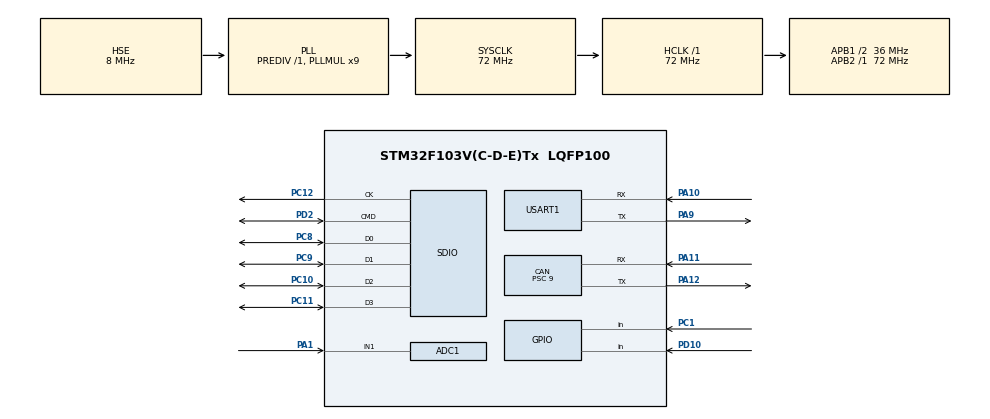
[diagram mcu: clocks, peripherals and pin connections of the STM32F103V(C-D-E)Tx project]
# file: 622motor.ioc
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ADC1.Channel-0\#ChannelRegularConversion=ADC_CHANNEL_1
ADC1.NbrOfConversionFlag=1
ADC1.Rank-0\#ChannelRegularConversion=1
ADC1.SamplingTime-0\#ChannelRegularConversion=ADC_SAMPLETIME_1CYCLE_5
ADC1.master=1
CAN.BS1=CAN_BS1_8TQ
CAN.BS2=CAN_BS2_7TQ
CAN.CalculateBaudRate=250000
CAN.CalculateTimeBit=4000
CAN.CalculateTimeQuantum=250.0
CAN.Prescaler=9
Dma.Request0=USART1_TX
Dma.Request1=SDIO
Dma.SDIO.1.Direction=DMA_PERIPH_TO_MEMORY
Dma.SDIO.1.Instance=DMA2_Channel4
Dma.SDIO.1.MemDataAlignment=DMA_MDATAALIGN_WORD
Dma.SDIO.1.MemInc=DMA_MINC_ENABLE
Dma.SDIO.1.Mode=DMA_NORMAL
Dma.SDIO.1.PeriphDataAlignment=DMA_PDATAALIGN_WORD
Dma.SDIO.1.PeriphInc=DMA_PINC_DISABLE
Dma.SDIO.1.Priority=DMA_PRIORITY_LOW
Dma.USART1_TX.0.Direction=DMA_MEMORY_TO_PERIPH
Dma.USART1_TX.0.Instance=DMA1_Channel4
Dma.USART1_TX.0.MemDataAlignment=DMA_MDATAALIGN_BYTE
Dma.USART1_TX.0.MemInc=DMA_MINC_ENABLE
Dma.USART1_TX.0.Mode=DMA_NORMAL
Dma.USART1_TX.0.PeriphDataAlignment=DMA_PDATAALIGN_BYTE
Dma.USART1_TX.0.PeriphInc=DMA_PINC_DISABLE
Dma.USART1_TX.0.Priority=DMA_PRIORITY_MEDIUM
FATFS.BSP.number=1
FATFS0.BSP.STBoard=false
FATFS0.BSP.api=Unknown
FATFS0.BSP.instance=PD10
FATFS0.BSP.ip=GPIO
FATFS0.BSP.mode=Input
FATFS0.BSP.name=Detect_SDIO
FATFS0.BSP.solution=PD10
Mcu.Family=STM32F1
Mcu.Name=STM32F103V(C-D-E)Tx
Mcu.Package=LQFP100
NVIC.DMA1_Channel4_IRQn=true\:4\:0\:true\:false\:true\:false\:true\:true
NVIC.DMA2_Channel4_5_IRQn=true\:3\:0\:true\:false\:true\:false\:true\:true
NVIC.PriorityGroup=NVIC_PRIORITYGROUP_4
NVIC.SDIO_IRQn=true\:3\:0\:true\:false\:true\:true\:true\:true
NVIC.USB_LP_CAN1_RX0_IRQn=true\:2\:0\:true\:false\:true\:true\:true\:true
OSC_IN.Mode=HSE-External-Oscillator
OSC_IN.Signal=RCC_OSC_IN
OSC_OUT.Mode=HSE-External-Oscillator
OSC_OUT.Signal=RCC_OSC_OUT
PA1.Signal=ADCx_IN1
PA10.Mode=Asynchronous
PA10.Signal=USART1_RX
PA11.Mode=CAN_Activate
PA11.Signal=CAN_RX
PA12.Mode=CAN_Activate
PA12.Signal=CAN_TX
PA13.Mode=Serial_Wire
PA13.Signal=SYS_JTMS-SWDIO
PA14.Mode=Serial_Wire
PA14.Signal=SYS_JTCK-SWCLK
PA9.Mode=Asynchronous
PA9.Signal=USART1_TX
PC1.GPIO_PuPd=GPIO_PULLDOWN
PC1.Signal=GPIO_Input
PC10.Mode=SD_4_bits_Wide_bus
PC10.Signal=SDIO_D2
PC11.Mode=SD_4_bits_Wide_bus
PC11.Signal=SDIO_D3
PC12.Mode=SD_4_bits_Wide_bus
PC12.Signal=SDIO_CK
PC8.Mode=SD_4_bits_Wide_bus
PC8.Signal=SDIO_D0
PC9.Mode=SD_4_bits_Wide_bus
PC9.Signal=SDIO_D1
PD10.GPIO_PuPd=GPIO_PULLDOWN
PD10.Signal=GPIO_Input
PD2.Mode=SD_4_bits_Wide_bus
PD2.Signal=SDIO_CMD
ProjectManager.HeapSize=0x200
ProjectManager.StackSize=0x400
ProjectManager.TargetToolchain=CMake
RCC.ADCPresc=RCC_ADCPCLK2_DIV6
RCC.AHBFreq_Value=72000000
RCC.APB1CLKDivider=RCC_HCLK_DIV2
RCC.APB1Freq_Value=36000000
RCC.APB1TimFreq_Value=72000000
RCC.APB2Freq_Value=72000000
RCC.APB2TimFreq_Value=72000000
RCC.HCLKFreq_Value=72000000
RCC.PLLMUL=RCC_PLL_MUL9
RCC.PLLSourceVirtual=RCC_PLLSOURCE_HSE
RCC.SYSCLKFreq_VALUE=72000000
RCC.SYSCLKSource=RCC_SYSCLKSOURCE_PLLCLK
RCC.USBFreq_Value=72000000
SH.ADCx_IN1.0=ADC1_IN1,IN1
USART1.Parity=PARITY_NONE
USART1.VirtualMode=VM_ASYNC
VP_FATFS_VS_SDIO.Mode=SDIO
board=custom

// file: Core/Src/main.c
/* USER CODE BEGIN Header */
/**
  ******************************************************************************
  * @file           : main.c
  * @brief          : Main program body
  ******************************************************************************
  * @attention
  *
  * Copyright (c) 2026 STMicroelectronics.
  * All rights reserved.
  *
  * This software is licensed under terms that can be found in the LICENSE file
  * in the root directory of this software component.
  * If no LICENSE file comes with this software, it is provided AS-IS.
  *
  ******************************************************************************
  */
/* USER CODE END Header */
#include "main.h"
#include "adc.h"
#include "can.h"
#include "dma.h"
#include "fatfs.h"
#include "sdio.h"
#include "usart.h"
#include "gpio.h"
#include "sd_logger.h"

/* USER CODE BEGIN Includes */
#include <stdio.h>            // 如果需要简单 printf 调试
#include <stdarg.h>           // 同上
/* USER CODE END Includes */

/* USER CODE BEGIN PTD */
typedef struct
{
  uint8_t node_id;
  uint8_t online;
  uint8_t enable;
  uint8_t drive_mode;
  uint8_t ebrake_released;
  uint8_t system_state;
  int16_t torque_dNm;
  int16_t speed_rpm;
  int16_t mech_rpm;
  int16_t motor_temp_c;
  int16_t controller_temp_c;
  uint8_t error_code;
  uint16_t udc_dV;
  int16_t idc_dA;
  uint16_t iphase_dA;
  uint16_t limit_flags;
  uint32_t last_status1_tick;
  uint32_t last_status2_tick;
} AppMotorStatus_t;

typedef struct
{
  uint8_t node_id;
  int8_t direction;       /* 1 = forward, -1 = reverse. Change here for field wiring. */
} AppMotorConfig_t;

typedef struct
{
  GPIO_TypeDef *port;
  uint16_t pin;
} AppGpioPin_t;

extern DMA_HandleTypeDef hdma_usart1_tx;
/* USER CODE END PTD */

/* USER CODE BEGIN PD */
#define APP_MOTOR_NODE_ID_1          1U
#define APP_MOTOR_NODE_ID_2          2U
#define APP_MOTOR_MAX_RPM            3000U
#define APP_SPEED_OFFSET_RPM         30000L
#define APP_TORQUE_OFFSET_RAW        10000U
#define APP_TARGET_TORQUE_DNM         0     /* Current speed command sends zero torque request. */
#define APP_CAN_CMD_BASE_ID          0x200U
#define APP_CAN_STATUS1_BASE_ID      0x180U
#define APP_CAN_STATUS2_BASE_ID      0x280U
#define APP_CAN_CMD_PERIOD_MS        20U
#define APP_UART_PERIOD_MS           100U
#define APP_MOTOR_ONLINE_TIMEOUT_MS  500U
#define APP_CAN_TX_RETRY_COUNT       2U
#define APP_ADC_SAMPLE_COUNT         8U

#define APP_ANO_ADC_ID               0xF1U  /* ADC raw + speed percent + stop */
#define APP_ANO_TARGET_SPEED_ID      0xF2U  /* Desired speed (target RPM) */
#define APP_ANO_ACTUAL_SPEED_ID      0xF3U  /* Actual mechanical RPM */
#define APP_ANO_TORQUE_ID            0xF4U  /* Actual torque */
#define APP_ANO_MOTOR_TEMP_ID        0xF5U  /* Motor temperature */
#define APP_ANO_CONTROLLER_TEMP_ID   0xF6U  /* Controller temperature */
#define APP_ANO_VOLTAGE_CURRENT_ID   0xF7U  /* Bus voltage & current */
#define APP_MOTOR_DUAL_NODE1_MODE    0U     /* Set to 1 when both motors share node ID 1 */

#define ANO_HEAD      0xAB

#define ANO_SRC_ADDR  0x01      // STM32
#define ANO_DST_ADDR  0xFF      // PC上位机

/* 新增：刹车输入引脚定义 */
#define APP_BRAKE_GPIO_PORT      GPIOC
#define APP_BRAKE_GPIO_PIN       GPIO_PIN_1
/* USER CODE END PD */

/* USER CODE BEGIN PV */
static volatile AppMotorStatus_t app_motors[2];
static const AppMotorConfig_t app_motor_configs[2] =
{
  {APP_MOTOR_NODE_ID_1, 1},
  {APP_MOTOR_NODE_ID_2, 1}
};
static uint8_t app_speed_percent = 0U;
static uint8_t app_stop_active = 1U;
static int16_t app_target_rpm[2] = {0};
static volatile uint32_t app_can_tx_error_count = 0U;
static volatile uint32_t app_adc_error_count = 0U;
static volatile uint32_t app_uart_error_count = 0U;
static uint16_t app_adc_raw = 0U;
static int16_t app_target_torque_dNm[2] = {0};
/* USER CODE END PV */

void SystemClock_Config(void);
/* USER CODE BEGIN PFP */
static void App_Init(void);
static void App_Task(void);
static uint16_t App_ReadAdcRaw(void);
static uint8_t App_ReadSpeedPercent(void);
static uint8_t App_ReadStopSwitch(void);
static void App_SendMotorCommands(uint8_t speed_percent, uint8_t stop_active);
static HAL_StatusTypeDef App_SendMotorCommand(uint8_t node_id, int16_t speed_rpm, uint8_t enable);
static void App_ProcessCanFrame(const CAN_RxHeaderTypeDef *header, const uint8_t data[8]);
static void App_LogMotorStatusFromIsr(uint8_t node_id, const volatile AppMotorStatus_t *motor);
static volatile AppMotorStatus_t *App_FindMotorByNode(uint8_t node_id);
static int8_t App_GetMotorDirection(uint8_t node_id);
static void App_CopyMotorSnapshot(AppMotorStatus_t snapshot[2], int16_t target_rpm[2]);
static void App_UpdateMotorOnlineFlags(uint32_t now);
static uint16_t App_GetLe16(const uint8_t *data);
static void App_UartReport(void);
static void App_AnoSendVoltageCurrent(const AppMotorStatus_t motors[2], uint32_t now);
static void App_AnoSendAdcReading(void);
static void App_AnoSendTargetSpeed(const AppMotorStatus_t motors[2], const int16_t target_rpm[2]);
static void App_AnoSendActualSpeed(const AppMotorStatus_t motors[2]);
static void App_AnoSendTorque(const AppMotorStatus_t motors[2]);
static void App_AnoSendMotorTemp(const AppMotorStatus_t motors[2]);
static void App_AnoSendControllerTemp(const AppMotorStatus_t motors[2]);
static void App_AnoAppendS16(uint8_t *payload, uint16_t *index, int16_t value);
static void App_AnoAppendU32(uint8_t *payload, uint16_t *index, uint32_t value);
static void App_AnoCalcCheck(
    uint8_t *buf,
    uint16_t len,
    uint8_t *sumcheck,
    uint8_t *addcheck)
{
  uint16_t i;
  uint8_t sc = 0U;
  uint8_t ac = 0U;

  for (i = 0U; i < len; i++)
  {
    sc += buf[i];
    ac += sc;
  }
  *sumcheck = sc;
  *addcheck = ac;
}

static void App_AnoSendFrame(
    uint8_t id,
    const uint8_t *payload,
    uint16_t len);
/* USER CODE END PFP */

/* USER CODE BEGIN 0 */
static void App_Init(void)
{
  CAN_FilterTypeDef filter = {0};

  /* Initialise the queue before enabling CAN receive interrupts. */
  SdLogger_Init();

  app_motors[0].node_id = APP_MOTOR_NODE_ID_1;
#if APP_MOTOR_DUAL_NODE1_MODE
  app_motors[1].node_id = APP_MOTOR_NODE_ID_1;
#else
  app_motors[1].node_id = APP_MOTOR_NODE_ID_2;
#endif

  HAL_ADCEx_Calibration_Start(&hadc1);

  /* CAN accepts all frames; application parsing below filters motor status IDs. */
  filter.FilterBank = 0;
  filter.FilterMode = CAN_FILTERMODE_IDMASK;
  filter.FilterScale = CAN_FILTERSCALE_32BIT;
  filter.FilterIdHigh = 0x0000;
  filter.FilterIdLow = 0x0000;
  filter.FilterMaskIdHigh = 0x0000;
  filter.FilterMaskIdLow = 0x0000;
  filter.FilterFIFOAssignment = CAN_RX_FIFO0;
  filter.FilterActivation = ENABLE;
  filter.SlaveStartFilterBank = 14;
  if (HAL_CAN_ConfigFilter(&hcan, &filter) != HAL_OK)
  {
    Error_Handler();
  }

  if (HAL_CAN_Start(&hcan) != HAL_OK)
  {
    Error_Handler();
  }

  if (HAL_CAN_ActivateNotification(&hcan, CAN_IT_RX_FIFO0_MSG_PENDING) != HAL_OK)
  {
    Error_Handler();
  }

}

static void App_Task(void)
{
  static uint32_t last_cmd_tick = 0U;
  static uint32_t last_uart_tick = 0U;
  uint32_t now = HAL_GetTick();

  if ((now - last_cmd_tick) >= APP_CAN_CMD_PERIOD_MS)
  {
    last_cmd_tick = now;
    app_speed_percent = App_ReadSpeedPercent();
    app_stop_active = App_ReadStopSwitch();
    App_SendMotorCommands(app_speed_percent, app_stop_active);
  }

  if ((now - last_uart_tick) >= APP_UART_PERIOD_MS)
  {
    last_uart_tick = now;
    App_UartReport();
  }

  SdLogger_Task();
}

static uint16_t App_ReadAdcRaw(void)
{
  uint32_t sum = 0U;
  uint8_t sample_count = 0U;
  uint8_t i;

  for (i = 0U; i < APP_ADC_SAMPLE_COUNT; i++)
  {
    if (HAL_ADC_Start(&hadc1) != HAL_OK)
    {
      app_adc_error_count++;
      HAL_ADC_Stop(&hadc1);
      continue;
    }
    if (HAL_ADC_PollForConversion(&hadc1, 2U) == HAL_OK)
    {
      sum += HAL_ADC_GetValue(&hadc1);
      sample_count++;
    }
    else
    {
      app_adc_error_count++;
    }
    HAL_ADC_Stop(&hadc1);
  }

  if (sample_count == 0U)
  {
    return 0U;
  }

  return (uint16_t)(sum / sample_count);
}

static uint8_t App_ReadSpeedPercent(void)
{
  uint16_t adc_raw = App_ReadAdcRaw();
  app_adc_raw = adc_raw;
  uint32_t percent = ((uint32_t)adc_raw * 100U + 2047U) / 4095U;

  if (percent > 100U)
  {
    percent = 100U;
  }
  return (uint8_t)percent;
}

static uint8_t App_ReadStopSwitch(void)
{
    /* PC1 低电平 = 刹车（停止），高电平 = 运行 */
    if (HAL_GPIO_ReadPin(APP_BRAKE_GPIO_PORT, APP_BRAKE_GPIO_PIN) == GPIO_PIN_RESET)
    {
        return 1U;   // 停止
    }
    else
    {
        return 0U;   // 允许运行
    }
}

static void App_SendMotorCommands(uint8_t speed_percent, uint8_t stop_active)
{
    uint32_t rpm = ((uint32_t)speed_percent * APP_MOTOR_MAX_RPM + 50U) / 100U;
    uint8_t enable = (stop_active == 0U) ? 1U : 0U;
    uint8_t i;

#if APP_MOTOR_DUAL_NODE1_MODE
    const uint8_t motor_count = 1U;
#else
    const uint8_t motor_count = (uint8_t)(sizeof(app_motor_configs) / sizeof(app_motor_configs[0]));
#endif

    for (i = 0U; i < motor_count; i++)
    {
        uint8_t retry;
        uint8_t node_id = app_motor_configs[i].node_id;
        int16_t speed_rpm = enable ? (int16_t)((int32_t)rpm * App_GetMotorDirection(node_id)) : 0;
        HAL_StatusTypeDef status = HAL_ERROR;

        app_target_rpm[i] = speed_rpm;
        app_target_torque_dNm[i] = APP_TARGET_TORQUE_DNM;
        for (retry = 0U; retry < APP_CAN_TX_RETRY_COUNT; retry++)
        {
            status = App_SendMotorCommand(node_id, speed_rpm, enable);
            if (status == HAL_OK)
            {
                break;
            }
        }
        if (status != HAL_OK)
        {
            app_can_tx_error_count++;
            if (app_can_tx_error_count > 50U)
            {
                HAL_CAN_Stop(&hcan);
                HAL_CAN_Start(&hcan);
                HAL_CAN_ActivateNotification(&hcan, CAN_IT_RX_FIFO0_MSG_PENDING);
                app_can_tx_error_count = 0U;
            }
        }
    }
}

static HAL_StatusTypeDef App_SendMotorCommand(uint8_t node_id, int16_t speed_rpm, uint8_t enable)
{
  CAN_TxHeaderTypeDef tx_header = {0};
  uint8_t tx_data[8] = {0};
  uint32_t tx_mailbox;
  uint16_t speed_raw;

  if (speed_rpm > (int16_t)APP_MOTOR_MAX_RPM)
  {
    speed_rpm = (int16_t)APP_MOTOR_MAX_RPM;
  }
  if (speed_rpm < -(int16_t)APP_MOTOR_MAX_RPM)
  {
    speed_rpm = -(int16_t)APP_MOTOR_MAX_RPM;
  }

  speed_raw = (uint16_t)((int32_t)speed_rpm + APP_SPEED_OFFSET_RPM);

  tx_header.StdId = APP_CAN_CMD_BASE_ID + node_id;
  tx_header.ExtId = 0U;
  tx_header.IDE = CAN_ID_STD;
  tx_header.RTR = CAN_RTR_DATA;
  tx_header.DLC = 8U;
  tx_header.TransmitGlobalTime = DISABLE;

  /* Bit0 enable, Bit1..2 = 1 speed mode, Bit3 EBrakeCmd = 0 (MCU控制，即刹车就绪) */
  tx_data[0] = enable ? 0x0BU : 0x00U;
  tx_data[1] = (uint8_t)(APP_TORQUE_OFFSET_RAW & 0xFFU);
  tx_data[2] = (uint8_t)(APP_TORQUE_OFFSET_RAW >> 8);
  tx_data[3] = (uint8_t)(speed_raw & 0xFFU);
  tx_data[4] = (uint8_t)(speed_raw >> 8);

  return HAL_CAN_AddTxMessage(&hcan, &tx_header, tx_data, &tx_mailbox);
}

static void App_ProcessCanFrame(const CAN_RxHeaderTypeDef *header, const uint8_t data[8])
{
  uint8_t node_id;
  volatile AppMotorStatus_t *motor;
  uint16_t raw;

  if ((header->IDE != CAN_ID_STD) || (header->DLC < 8U))
  {
    return;
  }

  if ((header->StdId >= (APP_CAN_STATUS1_BASE_ID + APP_MOTOR_NODE_ID_1)) &&
      (header->StdId <= (APP_CAN_STATUS1_BASE_ID + APP_MOTOR_NODE_ID_2 + 16U)))
  {
    node_id = (uint8_t)(header->StdId - APP_CAN_STATUS1_BASE_ID);
    motor = App_FindMotorByNode(node_id);
    if (motor != NULL)
    {
      motor->online = 1U;
      motor->enable = data[0] & 0x01U;
      motor->drive_mode = (data[0] >> 1) & 0x01U;
      motor->ebrake_released = (data[0] >> 2) & 0x01U;
      motor->system_state = (data[0] >> 3) & 0x03U;
      motor->torque_dNm = (int16_t)(App_GetLe16(&data[1]) - APP_TORQUE_OFFSET_RAW);
      motor->speed_rpm = (int16_t)((int32_t)App_GetLe16(&data[3]) - APP_SPEED_OFFSET_RPM);
      motor->mech_rpm = motor->speed_rpm / 10;
      motor->motor_temp_c = (int16_t)data[5] - 40;
      motor->controller_temp_c = (int16_t)data[6] - 40;
      motor->error_code = data[7];
      motor->last_status1_tick = HAL_GetTick();
      App_LogMotorStatusFromIsr(node_id, motor);
      if (node_id == APP_MOTOR_NODE_ID_1)
      {
      }
    }
  }
  else if ((header->StdId >= (APP_CAN_STATUS2_BASE_ID + APP_MOTOR_NODE_ID_1)) &&
           (header->StdId <= (APP_CAN_STATUS2_BASE_ID + APP_MOTOR_NODE_ID_2 + 16U)))
  {
    node_id = (uint8_t)(header->StdId - APP_CAN_STATUS2_BASE_ID);
    motor = App_FindMotorByNode(node_id);
    if (motor != NULL)
    {
      raw = App_GetLe16(&data[2]);
      motor->online = 1U;
      motor->udc_dV = App_GetLe16(&data[0]);
      motor->idc_dA = (int16_t)raw - 10000;
      motor->iphase_dA = App_GetLe16(&data[4]);
      motor->limit_flags = App_GetLe16(&data[6]);
      motor->last_status2_tick = HAL_GetTick();
    }
  }
}

static void App_LogMotorStatusFromIsr(uint8_t node_id, const volatile AppMotorStatus_t *motor)
{
  SdLoggerRecord_t record;
  uint8_t index = (node_id == APP_MOTOR_NODE_ID_1) ? 0U : 1U;

  record.timestamp_ms = HAL_GetTick();
  record.motor_id = node_id;
  record.actual_speed_rpm = motor->mech_rpm;
  record.target_speed_rpm = app_target_rpm[index];
  record.actual_torque_dNm = motor->torque_dNm;
  record.target_torque_dNm = app_target_torque_dNm[index];
  record.bus_voltage_dV = motor->udc_dV;
  record.bus_current_dA = motor->idc_dA;
  record.phase_current_dA = motor->iphase_dA;
  record.controller_temp_c = motor->controller_temp_c;
  record.fault_code = motor->error_code;
  SdLogger_PushFromIsr(&record);
}

static volatile AppMotorStatus_t *App_FindMotorByNode(uint8_t node_id)
{
  uint8_t i;

  for (i = 0U; i < (uint8_t)(sizeof(app_motors) / sizeof(app_motors[0])); i++)
  {
    if (app_motors[i].node_id == node_id)
    {
      return &app_motors[i];
    }
  }
  return NULL;
}

static int8_t App_GetMotorDirection(uint8_t node_id)
{
  uint8_t i;

  for (i = 0U; i < (uint8_t)(sizeof(app_motor_configs) / sizeof(app_motor_configs[0])); i++)
  {
    if (app_motor_configs[i].node_id == node_id)
    {
      return (app_motor_configs[i].direction < 0) ? -1 : 1;
    }
  }
  return 1;
}

static void App_CopyMotorSnapshot(AppMotorStatus_t snapshot[2], int16_t target_rpm[2])
{
  uint8_t i;

  __disable_irq();
  for (i = 0U; i < (uint8_t)(sizeof(app_motors) / sizeof(app_motors[0])); i++)
  {
    snapshot[i] = app_motors[i];
    target_rpm[i] = app_target_rpm[i];
  }
  __enable_irq();
}

static void App_UpdateMotorOnlineFlags(uint32_t now)
{
  uint8_t i;

  __disable_irq();
  for (i = 0U; i < (uint8_t)(sizeof(app_motors) / sizeof(app_motors[0])); i++)
  {
    if ((now - app_motors[i].last_status1_tick) >= APP_MOTOR_ONLINE_TIMEOUT_MS)
    {
      app_motors[i].online = 0U;
    }
  }
  __enable_irq();
}

static uint16_t App_GetLe16(const uint8_t *data)
{
  return (uint16_t)data[0] | ((uint16_t)data[1] << 8);
}

static void App_UartReport(void)
{
  AppMotorStatus_t motors[2];
  int16_t target_rpm[2];
  uint32_t now = HAL_GetTick();

  App_UpdateMotorOnlineFlags(now);
  App_CopyMotorSnapshot(motors, target_rpm);

#if APP_MOTOR_DUAL_NODE1_MODE
  motors[1] = motors[0];
  target_rpm[1] = target_rpm[0];
#endif

  App_AnoSendVoltageCurrent(motors, now);
  App_AnoSendAdcReading();
  App_AnoSendTargetSpeed(motors, target_rpm);
  App_AnoSendActualSpeed(motors);
  App_AnoSendTorque(motors);
  App_AnoSendMotorTemp(motors);
  App_AnoSendControllerTemp(motors);
}

static void App_AnoSendVoltageCurrent(const AppMotorStatus_t motors[2], uint32_t now)
{
  uint8_t payload[32];
  uint16_t index = 0U;
  uint8_t i;
#if APP_MOTOR_DUAL_NODE1_MODE
  const uint8_t motor_count = 1U;
#else
  const uint8_t motor_count = (uint8_t)(sizeof(app_motor_configs) / sizeof(app_motor_configs[0]));
#endif

  App_AnoAppendU32(payload, &index, now);
  for (i = 0U; i < motor_count; i++)
  {
    payload[index++] = motors[i].node_id;
    App_AnoAppendS16(payload, &index, (int16_t)motors[i].udc_dV);
    App_AnoAppendS16(payload, &index, motors[i].idc_dA);
    App_AnoAppendS16(payload, &index, (int16_t)motors[i].iphase_dA);
  }
  App_AnoSendFrame(APP_ANO_VOLTAGE_CURRENT_ID, payload, index);
}

static void App_AnoSendAdcReading(void)
{
  uint8_t payload[10];
  uint16_t index = 0U;
  uint32_t now = HAL_GetTick();

  App_AnoAppendU32(payload, &index, now);
  App_AnoAppendS16(payload, &index, (int16_t)app_adc_raw);
  payload[index++] = app_speed_percent;
  payload[index++] = app_stop_active;
  App_AnoSendFrame(APP_ANO_ADC_ID, payload, index);
}

static void App_AnoSendTargetSpeed(const AppMotorStatus_t motors[2], const int16_t target_rpm[2])
{
  uint8_t payload[16];
  uint16_t index = 0U;
  uint8_t i;
#if APP_MOTOR_DUAL_NODE1_MODE
  const uint8_t motor_count = 1U;
#else
  const uint8_t motor_count = (uint8_t)(sizeof(app_motor_configs) / sizeof(app_motor_configs[0]));
#endif

  for (i = 0U; i < motor_count; i++)
  {
    payload[index++] = motors[i].node_id;
    App_AnoAppendS16(payload, &index, target_rpm[i]);
  }
  App_AnoSendFrame(APP_ANO_TARGET_SPEED_ID, payload, index);
}

static void App_AnoSendActualSpeed(const AppMotorStatus_t motors[2])
{
  uint8_t payload[16];
  uint16_t index = 0U;
  uint8_t i;
#if APP_MOTOR_DUAL_NODE1_MODE
  const uint8_t motor_count = 1U;
#else
  const uint8_t motor_count = (uint8_t)(sizeof(app_motor_configs) / sizeof(app_motor_configs[0]));
#endif

  for (i = 0U; i < motor_count; i++)
  {
    payload[index++] = motors[i].node_id;
    App_AnoAppendS16(payload, &index, motors[i].mech_rpm);
  }
  App_AnoSendFrame(APP_ANO_ACTUAL_SPEED_ID, payload, index);
}

static void App_AnoSendTorque(const AppMotorStatus_t motors[2])
{
  uint8_t payload[16];
  uint16_t index = 0U;
  uint8_t i;
#if APP_MOTOR_DUAL_NODE1_MODE
  const uint8_t motor_count = 1U;
#else
  const uint8_t motor_count = (uint8_t)(sizeof(app_motor_configs) / sizeof(app_motor_configs[0]));
#endif

  for (i = 0U; i < motor_count; i++)
  {
    payload[index++] = motors[i].node_id;
    App_AnoAppendS16(payload, &index, motors[i].torque_dNm);
  }
  App_AnoSendFrame(APP_ANO_TORQUE_ID, payload, index);
}

static void App_AnoSendMotorTemp(const AppMotorStatus_t motors[2])
{
  uint8_t payload[16];
  uint16_t index = 0U;
  uint8_t i;
#if APP_MOTOR_DUAL_NODE1_MODE
  const uint8_t motor_count = 1U;
#else
  const uint8_t motor_count = (uint8_t)(sizeof(app_motor_configs) / sizeof(app_motor_configs[0]));
#endif

  for (i = 0U; i < motor_count; i++)
  {
    payload[index++] = motors[i].node_id;
    App_AnoAppendS16(payload, &index, motors[i].motor_temp_c);
  }
  App_AnoSendFrame(APP_ANO_MOTOR_TEMP_ID, payload, index);
}

static void App_AnoSendControllerTemp(const AppMotorStatus_t motors[2])
{
  uint8_t payload[16];
  uint16_t index = 0U;
  uint8_t i;
#if APP_MOTOR_DUAL_NODE1_MODE
  const uint8_t motor_count = 1U;
#else
  const uint8_t motor_count = (uint8_t)(sizeof(app_motor_configs) / sizeof(app_motor_configs[0]));
#endif

  for (i = 0U; i < motor_count; i++)
  {
    payload[index++] = motors[i].node_id;
    App_AnoAppendS16(payload, &index, motors[i].controller_temp_c);
  }
  App_AnoSendFrame(APP_ANO_CONTROLLER_TEMP_ID, payload, index);
}

static void App_AnoAppendS16(uint8_t *payload, uint16_t *index, int16_t value)
{
  payload[(*index)++] = (uint8_t)((uint16_t)value & 0xFFU);
  payload[(*index)++] = (uint8_t)(((uint16_t)value >> 8) & 0xFFU);
}

static void App_AnoAppendU32(uint8_t *payload, uint16_t *index, uint32_t value)
{
  payload[(*index)++] = (uint8_t)(value & 0xFFU);
  payload[(*index)++] = (uint8_t)((value >> 8) & 0xFFU);
  payload[(*index)++] = (uint8_t)((value >> 16) & 0xFFU);
  payload[(*index)++] = (uint8_t)((value >> 24) & 0xFFU);
}

static void App_AnoSendFrame(
    uint8_t id,
    const uint8_t *payload,
    uint16_t len)
{
    uint8_t frame[128];

    uint16_t index = 0;
    uint16_t i;

    uint8_t sc;
    uint8_t ac;

    if(len > 100)
        return;

    /*-----------------------
      Frame Header
    -----------------------*/

    frame[index++] = ANO_HEAD;

    frame[index++] = ANO_SRC_ADDR;

    frame[index++] = ANO_DST_ADDR;

    frame[index++] = id;

    frame[index++] = (uint8_t)(len & 0xFF);
    frame[index++] = (uint8_t)(len >> 8);

    /*-----------------------
      Payload
    -----------------------*/

    for(i=0;i<len;i++)
    {
        frame[index++] = payload[i];
    }

    /*-----------------------
      Check
    -----------------------*/

    App_AnoCalcCheck(
        frame,
        index,
        &sc,
        &ac);

    frame[index++] = sc;
    frame[index++] = ac;

    /*-----------------------
      Wait DMA idle
    -----------------------*/
if (huart1.gState != HAL_UART_STATE_READY)
    {
        huart1.gState = HAL_UART_STATE_READY;
    }
    HAL_UART_Transmit(&huart1, frame, index, 100);

}

/* USER CODE END 0 */

int main(void)
{

  /* MCU Configuration--------------------------------------------------------*/

  /* Reset of all peripherals, Initializes the Flash interface and the Systick. */
  HAL_Init();

  /* Configure the system clock */
  SystemClock_Config();

  /* Initialize all configured peripherals */
  MX_GPIO_Init();
  MX_DMA_Init();
  MX_ADC1_Init();
  MX_CAN_Init();
  MX_USART1_UART_Init();
  MX_SDIO_SD_Init();
  MX_FATFS_Init();
  /* USER CODE BEGIN 2 */
  App_Init();

  /* USER CODE END 2 */

  /* Infinite loop */
  while (1)
  {

    /* USER CODE BEGIN 3 */
    App_Task();
  }
//while(1)
//{
//    uint8_t test[] = "HELLO\r\n";

//    HAL_UART_Transmit(
//        &huart1,
//        test,
//        sizeof(test)-1,
//        100);

//    for(volatile uint32_t i=0;i<500000;i++);
//}
  /* USER CODE END 3 */
}

void SystemClock_Config(void)
{
  RCC_OscInitTypeDef RCC_OscInitStruct = {0};
  RCC_ClkInitTypeDef RCC_ClkInitStruct = {0};
  RCC_PeriphCLKInitTypeDef PeriphClkInit = {0};

  /** Initializes the RCC Oscillators according to the specified parameters
  * in the RCC_OscInitTypeDef structure.
  */
  RCC_OscInitStruct.OscillatorType = RCC_OSCILLATORTYPE_HSE;
  RCC_OscInitStruct.HSEState = RCC_HSE_ON;
  RCC_OscInitStruct.HSEPredivValue = RCC_HSE_PREDIV_DIV1;
  RCC_OscInitStruct.HSIState = RCC_HSI_ON;
  RCC_OscInitStruct.PLL.PLLState = RCC_PLL_ON;
  RCC_OscInitStruct.PLL.PLLSource = RCC_PLLSOURCE_HSE;
  RCC_OscInitStruct.PLL.PLLMUL = RCC_PLL_MUL9;
  if (HAL_RCC_OscConfig(&RCC_OscInitStruct) != HAL_OK)
  {
    Error_Handler();
  }

  /** Initializes the CPU, AHB and APB buses clocks
  */
  RCC_ClkInitStruct.ClockType = RCC_CLOCKTYPE_HCLK|RCC_CLOCKTYPE_SYSCLK
                              |RCC_CLOCKTYPE_PCLK1|RCC_CLOCKTYPE_PCLK2;
  RCC_ClkInitStruct.SYSCLKSource = RCC_SYSCLKSOURCE_PLLCLK;
  RCC_ClkInitStruct.AHBCLKDivider = RCC_SYSCLK_DIV1;
  RCC_ClkInitStruct.APB1CLKDivider = RCC_HCLK_DIV2;
  RCC_ClkInitStruct.APB2CLKDivider = RCC_HCLK_DIV1;

  if (HAL_RCC_ClockConfig(&RCC_ClkInitStruct, FLASH_LATENCY_2) != HAL_OK)
  {
    Error_Handler();
  }
  PeriphClkInit.PeriphClockSelection = RCC_PERIPHCLK_ADC;
  PeriphClkInit.AdcClockSelection = RCC_ADCPCLK2_DIV6;
  if (HAL_RCCEx_PeriphCLKConfig(&PeriphClkInit) != HAL_OK)
  {
    Error_Handler();
  }
}

/* USER CODE BEGIN 4 */
void HAL_CAN_RxFifo0MsgPendingCallback(CAN_HandleTypeDef *hcan_arg)
{
  CAN_RxHeaderTypeDef rx_header;
  uint8_t rx_data[8];

  if (hcan_arg->Instance != CAN1)
  {
    return;
  }

  while (HAL_CAN_GetRxFifoFillLevel(hcan_arg, CAN_RX_FIFO0) > 0U)
  {
    if (HAL_CAN_GetRxMessage(hcan_arg, CAN_RX_FIFO0, &rx_header, rx_data) == HAL_OK)
    {
      App_ProcessCanFrame(&rx_header, rx_data);
    }
  }
}

/* USER CODE END 4 */

void Error_Handler(void)
{
  __disable_irq();
  while (1)
  {
  }
}
